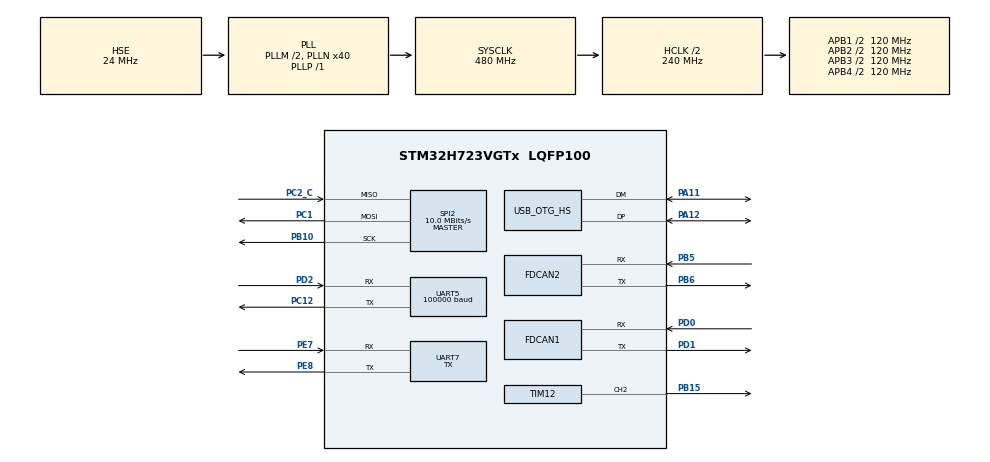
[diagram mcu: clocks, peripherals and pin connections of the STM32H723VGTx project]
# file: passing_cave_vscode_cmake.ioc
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CORTEX_M7.MPU_Control=__NULL
CORTEX_M7.default_mode_Activation=1
Dma.Request0=UART5_RX
Dma.Request1=UART7_TX
Dma.UART5_RX.0.Direction=DMA_PERIPH_TO_MEMORY
Dma.UART5_RX.0.EventEnable=DISABLE
Dma.UART5_RX.0.FIFOMode=DMA_FIFOMODE_DISABLE
Dma.UART5_RX.0.Instance=DMA2_Stream2
Dma.UART5_RX.0.MemDataAlignment=DMA_MDATAALIGN_BYTE
Dma.UART5_RX.0.MemInc=DMA_MINC_ENABLE
Dma.UART5_RX.0.Mode=DMA_CIRCULAR
Dma.UART5_RX.0.PeriphDataAlignment=DMA_PDATAALIGN_BYTE
Dma.UART5_RX.0.PeriphInc=DMA_PINC_DISABLE
Dma.UART5_RX.0.Polarity=HAL_DMAMUX_REQ_GEN_RISING
Dma.UART5_RX.0.Priority=DMA_PRIORITY_HIGH
Dma.UART5_RX.0.RequestNumber=1
Dma.UART5_RX.0.SignalID=NONE
Dma.UART5_RX.0.SyncEnable=DISABLE
Dma.UART5_RX.0.SyncPolarity=HAL_DMAMUX_SYNC_NO_EVENT
Dma.UART5_RX.0.SyncRequestNumber=1
Dma.UART5_RX.0.SyncSignalID=NONE
Dma.UART7_TX.1.Direction=DMA_MEMORY_TO_PERIPH
Dma.UART7_TX.1.EventEnable=DISABLE
Dma.UART7_TX.1.FIFOMode=DMA_FIFOMODE_DISABLE
Dma.UART7_TX.1.Instance=DMA1_Stream1
Dma.UART7_TX.1.MemDataAlignment=DMA_MDATAALIGN_BYTE
Dma.UART7_TX.1.MemInc=DMA_MINC_ENABLE
Dma.UART7_TX.1.Mode=DMA_CIRCULAR
Dma.UART7_TX.1.PeriphDataAlignment=DMA_PDATAALIGN_BYTE
Dma.UART7_TX.1.PeriphInc=DMA_PINC_DISABLE
Dma.UART7_TX.1.Polarity=HAL_DMAMUX_REQ_GEN_RISING
Dma.UART7_TX.1.Priority=DMA_PRIORITY_LOW
Dma.UART7_TX.1.RequestNumber=1
Dma.UART7_TX.1.SignalID=NONE
Dma.UART7_TX.1.SyncEnable=DISABLE
Dma.UART7_TX.1.SyncPolarity=HAL_DMAMUX_SYNC_NO_EVENT
Dma.UART7_TX.1.SyncRequestNumber=1
Dma.UART7_TX.1.SyncSignalID=NONE
FDCAN1.CalculateBaudRateNominal=1000000
FDCAN1.CalculateTimeBitNominal=1000
FDCAN1.CalculateTimeQuantumNominal=25.0
FDCAN1.DataPrescaler=3
FDCAN1.DataSyncJumpWidth=10
FDCAN1.DataTimeSeg1=29
FDCAN1.DataTimeSeg2=10
FDCAN1.NominalPrescaler=3
FDCAN1.NominalSyncJumpWidth=10
FDCAN1.NominalTimeSeg1=29
FDCAN1.NominalTimeSeg2=10
FDCAN1.RxFifo0ElmtsNbr=16
FDCAN1.StdFiltersNbr=1
FDCAN1.TxFifoQueueElmtsNbr=8
FDCAN2.CalculateBaudRateNominal=1000000
FDCAN2.CalculateTimeBitNominal=1000
FDCAN2.CalculateTimeQuantumNominal=25.0
FDCAN2.DataPrescaler=3
FDCAN2.DataSyncJumpWidth=10
FDCAN2.DataTimeSeg1=29
FDCAN2.DataTimeSeg2=10
FDCAN2.MessageRAMOffset=853
FDCAN2.NominalPrescaler=3
FDCAN2.NominalSyncJumpWidth=10
FDCAN2.NominalTimeSeg1=29
FDCAN2.NominalTimeSeg2=10
FDCAN2.RxFifo0ElmtsNbr=16
FDCAN2.StdFiltersNbr=1
FDCAN2.TxFifoQueueElmtsNbr=8
Mcu.Family=STM32H7
Mcu.Name=STM32H723VGTx
Mcu.Package=LQFP100
NVIC.DMA1_Stream1_IRQn=true\:0\:0\:false\:false\:true\:false\:true\:true
NVIC.DMA2_Stream2_IRQn=true\:0\:0\:false\:false\:true\:false\:true\:true
NVIC.FDCAN1_IT0_IRQn=true\:0\:0\:false\:false\:true\:true\:true\:true
NVIC.FDCAN1_IT1_IRQn=true\:0\:0\:false\:false\:true\:true\:true\:true
NVIC.OTG_HS_IRQn=true\:0\:0\:false\:false\:true\:false\:true\:true
NVIC.PriorityGroup=NVIC_PRIORITYGROUP_4
NVIC.TIM5_IRQn=true\:0\:0\:false\:false\:true\:true\:true\:true
NVIC.UART5_IRQn=true\:0\:0\:false\:false\:true\:true\:true\:true
NVIC.UART7_IRQn=true\:0\:0\:false\:false\:true\:false\:true\:true
PA11.Mode=Device_Only_FS
PA11.Signal=USB_OTG_HS_DM
PA12.Mode=Device_Only_FS
PA12.Signal=USB_OTG_HS_DP
PA13(JTMS/SWDIO).Mode=Serial_Wire
PA13(JTMS/SWDIO).Signal=DEBUG_JTMS-SWDIO
PA14(JTCK/SWCLK).Mode=Serial_Wire
PA14(JTCK/SWCLK).Signal=DEBUG_JTCK-SWCLK
PB10.Mode=Full_Duplex_Master
PB10.Signal=SPI2_SCK
PB15.Signal=S_TIM12_CH2
PB5.Mode=FDCAN_Activate
PB5.Signal=FDCAN2_RX
PB6.Mode=FDCAN_Activate
PB6.Signal=FDCAN2_TX
PC1.Mode=Full_Duplex_Master
PC1.Signal=SPI2_MOSI
PC12.Mode=Asynchronous
PC12.Signal=UART5_TX
PC2_C.Mode=Full_Duplex_Master
PC2_C.Signal=SPI2_MISO
PD0.Mode=FDCAN_Activate
PD0.Signal=FDCAN1_RX
PD1.Mode=FDCAN_Activate
PD1.Signal=FDCAN1_TX
PD2.Mode=Asynchronous
PD2.Signal=UART5_RX
PE7.Mode=Asynchronous
PE7.Signal=UART7_RX
PE8.Mode=Asynchronous
PE8.Signal=UART7_TX
PH0-OSC_IN.Mode=HSE-External-Oscillator
PH0-OSC_IN.Signal=RCC_OSC_IN
PH1-OSC_OUT.Mode=HSE-External-Oscillator
PH1-OSC_OUT.Signal=RCC_OSC_OUT
ProjectManager.HeapSize=0x200
ProjectManager.StackSize=0x400
ProjectManager.TargetToolchain=CMake
RCC.ADCFreq_Value=48375000
RCC.APB1Freq_Value=120000000
RCC.APB2Freq_Value=120000000
RCC.APB3Freq_Value=120000000
RCC.APB4Freq_Value=120000000
RCC.CortexFreq_Value=480000000
RCC.D1PPRE=RCC_APB3_DIV2
RCC.D2PPRE1=RCC_APB1_DIV2
RCC.D2PPRE2=RCC_APB2_DIV2
RCC.D3PPRE=RCC_APB4_DIV2
RCC.DIVM1=2
RCC.DIVM3=24
RCC.DIVN1=40
RCC.DIVN3=160
RCC.DIVP1=1
RCC.DIVQ1=4
RCC.HCLKFreq_Value=240000000
RCC.HPRE=RCC_HCLK_DIV2
RCC.HSE_VALUE=24000000
RCC.PLL2FRACN=0
RCC.PLL3FRACN=0
RCC.PLLFRACN=0
RCC.PLLSourceVirtual=RCC_PLLSOURCE_HSE
RCC.SPI123CLockSelection=RCC_SPI123CLKSOURCE_PLL3
RCC.SYSCLKFreq_VALUE=480000000
RCC.SYSCLKSource=RCC_SYSCLKSOURCE_PLLCLK
RCC.USBCLockSelection=RCC_USBCLKSOURCE_HSI48
RCC.USBFreq_Value=48000000
SH.S_TIM12_CH2.0=TIM12_CH2,PWM Generation2 CH2
SPI2.BaudRatePrescaler=SPI_BAUDRATEPRESCALER_8
SPI2.CLKPhase=SPI_PHASE_2EDGE
SPI2.CLKPolarity=SPI_POLARITY_HIGH
SPI2.CalculateBaudRate=10.0 MBits/s
SPI2.DataSize=SPI_DATASIZE_8BIT
SPI2.Direction=SPI_DIRECTION_2LINES
SPI2.Mode=SPI_MODE_MASTER
SPI2.VirtualType=VM_MASTER
TIM12.Channel-PWM\ Generation2\ CH2=TIM_CHANNEL_2
TIM12.Period=250-1
TIM12.Prescaler=240-1
TIM5.Period=3600000000-1
TIM5.Prescaler=240-1
UART5.BaudRate=100000
UART5.Mode=MODE_RX
UART5.Parity=PARITY_EVEN
UART5.StopBits=UART_STOPBITS_2
UART5.WordLength=WORDLENGTH_9B
UART7.Mode=MODE_TX
USB_DEVICE.CLASS_NAME_HS=CDC
USB_DEVICE.USBD_SELF_POWERED=1
USB_DEVICE.VirtualMode=Cdc
USB_DEVICE.VirtualModeHS=Cdc_HS
USB_OTG_HS.VirtualMode-Device_Only_FS=Device_Only_FS
VP_MEMORYMAP_VS_MEMORYMAP.Mode=CurAppReg
VP_TIM5_VS_ClockSourceINT.Mode=Internal
VP_USB_DEVICE_VS_USB_DEVICE_CDC_HS.Mode=CDC_HS
board=custom

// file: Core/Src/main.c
/* USER CODE BEGIN Header */
/**
  ******************************************************************************
  * @file           : main.c
  * @brief          : Main program body
  ******************************************************************************
  * @attention
  *
  * Copyright (c) 2026 STMicroelectronics.
  * All rights reserved.
  *
  * This software is licensed under terms that can be found in the LICENSE file
  * in the root directory of this software component.
  * If no LICENSE file comes with this software, it is provided AS-IS.
  *
  ******************************************************************************
  */
/* USER CODE END Header */
#include "main.h"
#include "dma.h"
#include "fdcan.h"
#include "spi.h"
#include "tim.h"
#include "usart.h"
#include "usb_device.h"
#include "gpio.h"

/* USER CODE BEGIN Includes */

//CMake: Delete Cache and Reconfigure

#include "DM_dri_4310.h"
#include "MY_fdcan.h"
#include "SBUS.h"
#include "VOFA.h"
#include "bmi088.h"
#include "DJ_dri.h"
#include "h7_buzzer.h"
#include "see_you_again_tune.h"
#include "usbd_cdc_if.h"
#include "USB_Transmat.h"
/* USER CODE END Includes */

/* USER CODE BEGIN PV */
float position=0.0f;
/* USER CODE END PV */

void SystemClock_Config(void);

int main(void)
{

  /* MCU Configuration--------------------------------------------------------*/

  /* Reset of all peripherals, Initializes the Flash interface and the Systick. */
  HAL_Init();

  /* Configure the system clock */
  SystemClock_Config();

  /* Initialize all configured peripherals */
  MX_GPIO_Init();
  MX_DMA_Init();
  MX_FDCAN1_Init();
  MX_FDCAN2_Init();
  MX_SPI2_Init();
  MX_UART5_Init();
  MX_UART7_Init();
  MX_TIM12_Init();
  MX_USB_DEVICE_Init();
  MX_TIM5_Init();
  /* USER CODE BEGIN 2 */
  MY_fdcan_init();
  SUBUS_init();
	// laoda_music_Init();
  // DM_dri_enable(&hfdcan1);
  // DM_dri_enable(&hfdcan2);
	// BMI088_Init();
  // BMI088_CalibrateGyroBias(2000, 1);
	// uint32_t last_can_tick = 0U;
  SYS_Timestamp_Init(&htim5);
  HAL_TIM_Base_Start_IT(&htim5);
  // main 初始化阶段：
  USB_Init(My_USB_Rx_Handler);
  // …… 当你的机器人业务就绪后：
  init_finished = true;

  /* USER CODE END 2 */

  /* Infinite loop */
  /* USER CODE BEGIN WHILE */
  while (1)
  {
    // CDC_Transmit_HS((uint8_t*)"Hello\n", 6);
    // HAL_Delay(1000);
    // laoda_music_Control(rc_ctrl.SD);
    // H7_Buzzer_Update(&g_buzzer);

		// if (HAL_GetTick() - last_can_tick >= 10U)
    // {
    //   last_can_tick = HAL_GetTick();

    //   DJ_set_snail2305(&hfdcan1,CAN_SET_DUTY,0.2f,0x01U);
    // }
    // DJ_set_snail2305(&hfdcan1,CAN_SET_DUTY,0.2f,0x01);
    // DJ_set_snail2305(&hfdcan1,CAN_SET_DUTY,0.2f,0x01);
		// BMI088_work();
    // DM_dri_po_and_sp(&hfdcan1, 0.0f, 2.0f, 0x101U);
    // DM_dri_po_and_sp(&hfdcan2, 0.0f, 2.0f, 0x101U);

		// VOFA_SendPID(INS_angle_deg[0],INS_angle_deg[1],INS_angle_deg[2],0,0);
    /* USER CODE END WHILE */

  }
}

void SystemClock_Config(void)
{
  RCC_OscInitTypeDef RCC_OscInitStruct = {0};
  RCC_ClkInitTypeDef RCC_ClkInitStruct = {0};

  /** Supply configuration update enable
  */
  HAL_PWREx_ConfigSupply(PWR_LDO_SUPPLY);

  /** Configure the main internal regulator output voltage
  */
  __HAL_PWR_VOLTAGESCALING_CONFIG(PWR_REGULATOR_VOLTAGE_SCALE0);

  while(!__HAL_PWR_GET_FLAG(PWR_FLAG_VOSRDY)) {}

  /** Initializes the RCC Oscillators according to the specified parameters
  * in the RCC_OscInitTypeDef structure.
  */
  RCC_OscInitStruct.OscillatorType = RCC_OSCILLATORTYPE_HSI48|RCC_OSCILLATORTYPE_HSE;
  RCC_OscInitStruct.HSEState = RCC_HSE_ON;
  RCC_OscInitStruct.HSI48State = RCC_HSI48_ON;
  RCC_OscInitStruct.PLL.PLLState = RCC_PLL_ON;
  RCC_OscInitStruct.PLL.PLLSource = RCC_PLLSOURCE_HSE;
  RCC_OscInitStruct.PLL.PLLM = 2;
  RCC_OscInitStruct.PLL.PLLN = 40;
  RCC_OscInitStruct.PLL.PLLP = 1;
  RCC_OscInitStruct.PLL.PLLQ = 4;
  RCC_OscInitStruct.PLL.PLLR = 2;
  RCC_OscInitStruct.PLL.PLLRGE = RCC_PLL1VCIRANGE_3;
  RCC_OscInitStruct.PLL.PLLVCOSEL = RCC_PLL1VCOWIDE;
  RCC_OscInitStruct.PLL.PLLFRACN = 0;
  if (HAL_RCC_OscConfig(&RCC_OscInitStruct) != HAL_OK)
  {
    Error_Handler();
  }

  /** Initializes the CPU, AHB and APB buses clocks
  */
  RCC_ClkInitStruct.ClockType = RCC_CLOCKTYPE_HCLK|RCC_CLOCKTYPE_SYSCLK
                              |RCC_CLOCKTYPE_PCLK1|RCC_CLOCKTYPE_PCLK2
                              |RCC_CLOCKTYPE_D3PCLK1|RCC_CLOCKTYPE_D1PCLK1;
  RCC_ClkInitStruct.SYSCLKSource = RCC_SYSCLKSOURCE_PLLCLK;
  RCC_ClkInitStruct.SYSCLKDivider = RCC_SYSCLK_DIV1;
  RCC_ClkInitStruct.AHBCLKDivider = RCC_HCLK_DIV2;
  RCC_ClkInitStruct.APB3CLKDivider = RCC_APB3_DIV2;
  RCC_ClkInitStruct.APB1CLKDivider = RCC_APB1_DIV2;
  RCC_ClkInitStruct.APB2CLKDivider = RCC_APB2_DIV2;
  RCC_ClkInitStruct.APB4CLKDivider = RCC_APB4_DIV2;

  if (HAL_RCC_ClockConfig(&RCC_ClkInitStruct, FLASH_LATENCY_3) != HAL_OK)
  {
    Error_Handler();
  }
}

void Error_Handler(void)
{
  __disable_irq();
  while (1)
  {
  }
}
